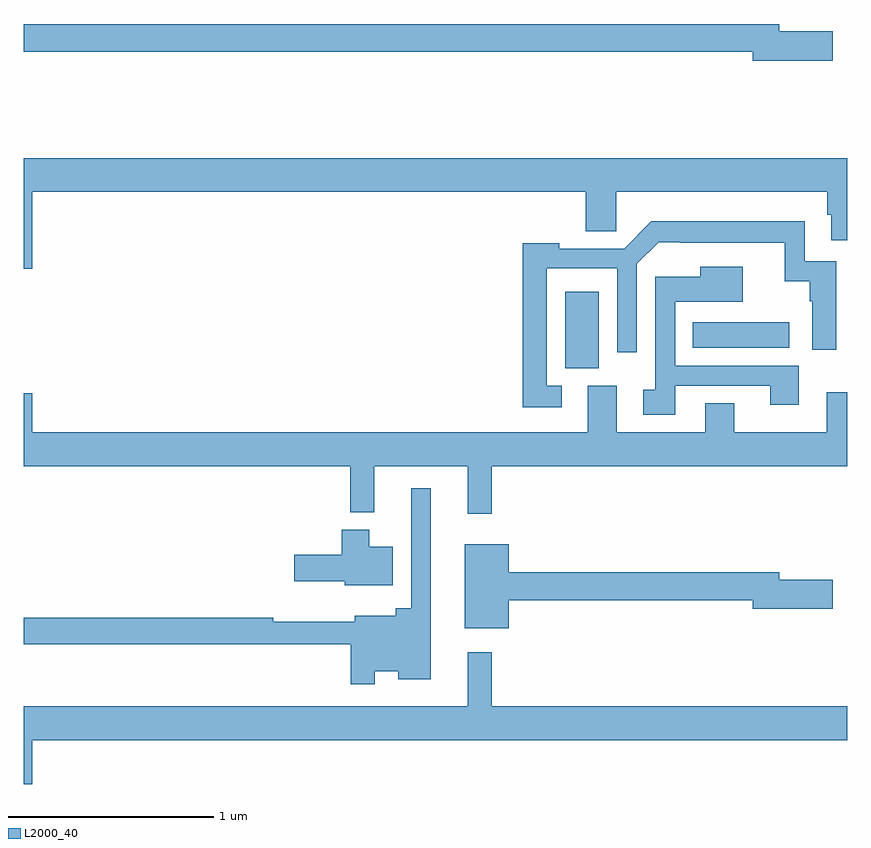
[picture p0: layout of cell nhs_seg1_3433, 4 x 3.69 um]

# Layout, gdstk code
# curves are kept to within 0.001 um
import gdstk
lib = gdstk.Library(unit=1e-6, precision=1e-09)
def R(c, l, rs):  # rectangles x0, y0, x1, y1
    for r in rs: c.add(gdstk.rectangle(r[:2], r[2:], *l))
def P(c, l, *ps):  # polygons
    for p in ps: c.add(gdstk.Polygon(p, *l))
L2000_40 = (2000, 40)

nhs_seg1_3433 = lib.new_cell('nhs_seg1_3433')
R(nhs_seg1_3433, L2000_40, [(299.63,540.22,299.794,540.592), (300.25,540.32,300.718,540.442)])
P(nhs_seg1_3433, L2000_40, [(300.931,541.856),(300.67,541.856),(300.67,541.892),(297,541.892),(297,541.756),(300.542,541.756),(300.542,541.714),(300.931,541.714)],
  [(297.04,541.076),(299.729,541.076),(299.729,540.886),(299.879,540.886),(299.879,541.076),(300.904,541.076),(300.904,540.966),(300.924,540.966),(300.924,540.84),(301,540.84),(301,541.24),(297,541.24),(297,540.702),(297.04,540.702)],
  [(299.614,540.135),(299.541,540.135),(299.541,540.705),(299.883,540.705),(299.883,540.297),(299.979,540.297),(299.979,540.726),(300.084,540.831),(300.698,540.83),(300.698,540.641),(300.819,540.641),(300.819,540.545),(300.831,540.545),(300.831,540.309),(300.947,540.309),(300.947,540.738),(300.795,540.738),(300.795,540.934),(300.049,540.934),(299.916,540.801),(299.601,540.801),(299.601,540.826),(299.425,540.826),(299.425,540.03),(299.614,540.03)],
  [(300.166,540.135),(300.626,540.135),(300.626,540.042),(300.766,540.042),(300.766,540.231),(300.165,540.231),(300.165,540.542),(300.493,540.542),(300.493,540.712),(300.287,540.712),(300.287,540.664),(300.069,540.664),(300.069,540.114),(300.009,540.114),(300.009,539.994),(300.166,539.994)],
  [(299.273,539.744),(301,539.744),(301,540.103),(300.902,540.103),(300.902,539.908),(300.451,539.908),(300.451,540.05),(300.311,540.05),(300.311,539.908),(299.881,539.908),(299.881,540.135),(299.741,540.135),(299.741,539.908),(297.04,539.908),(297.04,540.097),(297,540.097),(297,539.744),(298.585,539.744),(298.585,539.519),(298.703,539.519),(298.703,539.744),(299.156,539.744),(299.156,539.511),(299.273,539.511)],
  [(298.704,538.748),(298.82,538.748),(298.82,538.709),(298.978,538.709),(298.978,539.635),(298.881,539.635),(298.881,539.053),(298.808,539.053),(298.808,539.017),(298.607,539.017),(298.607,538.988),(298.211,538.988),(298.211,539.006),(297,539.006),(297,538.878),(298.588,538.878),(298.588,538.683),(298.704,538.683)],
  [(298.792,539.353),(298.678,539.353),(298.678,539.434),(298.544,539.434),(298.544,539.313),(298.314,539.313),(298.314,539.183),(298.56,539.183),(298.56,539.165),(298.792,539.165)],
  [(299.356,539.092),(300.542,539.092),(300.542,539.05),(300.931,539.05),(300.931,539.192),(300.67,539.192),(300.67,539.228),(299.356,539.228),(299.356,539.365),(299.141,539.365),(299.141,538.955),(299.356,538.955)],
  [(297.04,538.412),(301,538.412),(301,538.576),(299.273,538.576),(299.273,538.84),(299.156,538.84),(299.156,538.576),(297,538.576),(297,538.199),(297.04,538.199)])

lib.write_gds('nhs_seg1_3433.gds')
